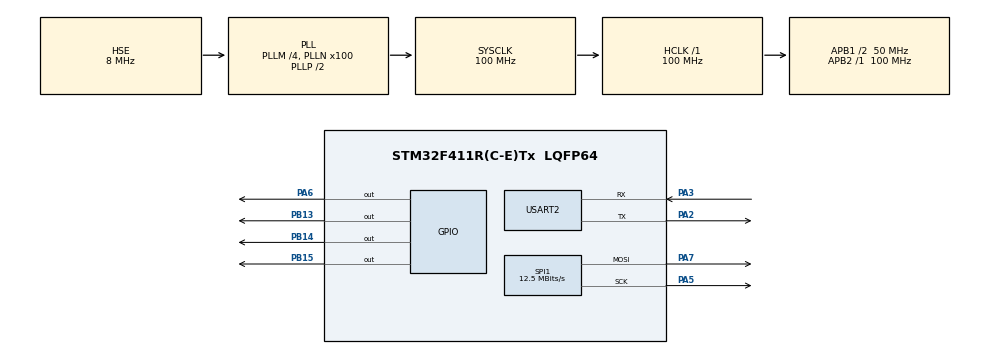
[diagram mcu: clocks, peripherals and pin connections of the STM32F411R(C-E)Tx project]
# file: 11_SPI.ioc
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Mcu.Family=STM32F4
Mcu.Name=STM32F411R(C-E)Tx
Mcu.Package=LQFP64
NVIC.PriorityGroup=NVIC_PRIORITYGROUP_4
PA13.Mode=Serial_Wire
PA13.Signal=SYS_JTMS-SWDIO
PA14.Mode=Serial_Wire
PA14.Signal=SYS_JTCK-SWCLK
PA2.Mode=Asynchronous
PA2.Signal=USART2_TX
PA3.Mode=Asynchronous
PA3.Signal=USART2_RX
PA5.Mode=TX_Only_Simplex_Unidirect_Master
PA5.Signal=SPI1_SCK
PA6.GPIO_Speed=GPIO_SPEED_FREQ_HIGH
PA6.Signal=GPIO_Output
PA7.Mode=TX_Only_Simplex_Unidirect_Master
PA7.Signal=SPI1_MOSI
PB13.Signal=GPIO_Output
PB14.Signal=GPIO_Output
PB15.Signal=GPIO_Output
PH0\ -\ OSC_IN.Mode=HSE-External-Oscillator
PH0\ -\ OSC_IN.Signal=RCC_OSC_IN
PH1\ -\ OSC_OUT.Mode=HSE-External-Oscillator
PH1\ -\ OSC_OUT.Signal=RCC_OSC_OUT
ProjectManager.HeapSize=0x200
ProjectManager.StackSize=0x400
ProjectManager.TargetToolchain=STM32CubeIDE
RCC.48MHZClocksFreq_Value=50000000
RCC.AHBFreq_Value=100000000
RCC.APB1CLKDivider=RCC_HCLK_DIV2
RCC.APB1Freq_Value=50000000
RCC.APB1TimFreq_Value=100000000
RCC.APB2Freq_Value=100000000
RCC.APB2TimFreq_Value=100000000
RCC.CortexFreq_Value=100000000
RCC.HCLKFreq_Value=100000000
RCC.HSE_VALUE=8000000
RCC.HSI_VALUE=16000000
RCC.LSE_VALUE=32768
RCC.PLLM=4
RCC.PLLN=100
RCC.PLLSourceVirtual=RCC_PLLSOURCE_HSE
RCC.SYSCLKFreq_VALUE=100000000
RCC.SYSCLKSource=RCC_SYSCLKSOURCE_PLLCLK
RCC.VCOOutputFreq_Value=200000000
SPI1.BaudRatePrescaler=SPI_BAUDRATEPRESCALER_8
SPI1.CalculateBaudRate=12.5 MBits/s
SPI1.Direction=SPI_DIRECTION_2LINES
SPI1.Mode=SPI_MODE_MASTER
SPI1.VirtualType=VM_MASTER
TIM11.Prescaler=100 - 1
USART2.VirtualMode=VM_ASYNC
VP_TIM11_VS_ClockSourceINT.Mode=Enable_Timer
board=custom

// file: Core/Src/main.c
/* USER CODE BEGIN Header */
/**
  ******************************************************************************
  * @file           : main.c
  * @brief          : Main program body
  ******************************************************************************
  * @attention
  *
  * Copyright (c) 2025 STMicroelectronics.
  * All rights reserved.
  *
  * This software is licensed under terms that can be found in the LICENSE file
  * in the root directory of this software component.
  * If no LICENSE file comes with this software, it is provided AS-IS.
  *
  ******************************************************************************
  */
/* USER CODE END Header */
#include "main.h"
#include "spi.h"
#include "tim.h"
#include "usart.h"
#include "gpio.h"

/* USER CODE BEGIN Includes */

#include "delay_us.h"

/* USER CODE END Includes */

/* USER CODE BEGIN PD */

#define RCLK_HIGH() HAL_GPIO_WritePin(GPIOA, GPIO_PIN_6, GPIO_PIN_SET)
#define RCLK_LOW()  HAL_GPIO_WritePin(GPIOA, GPIO_PIN_6, GPIO_PIN_RESET)

#define SER_PIN   GPIO_PIN_13
#define SRCLK_PIN GPIO_PIN_15
#define RCLK_PIN  GPIO_PIN_14
#define GPIO_PORT GPIOB

/* USER CODE END PD */

/* USER CODE BEGIN PV */

uint8_t LED_Bar[]=
    {
        0b00000001,
        0b00000010,
        0b00000100,
        0b00001000,
        0b00010000,
        0b00100000,
        0b01000000,
        0b10000000,
    };

/* USER CODE END PV */

void SystemClock_Config(void);
/* USER CODE BEGIN PFP */

//void LED_OUT(uint8_t data)  // use SPI
//{
//  // serial data out, SRCLK
//  HAL_SPI_Transmit(&hspi1, &data, 1, HAL_MAX_DELAY);
//
//  // 저장클럭
//  RCLK_HIGH();
//  HAL_Delay(1);
//  RCLK_LOW();
//}

void dataOut(uint8_t data)
{
  for(int8_t i = 7;i >= 0;i--)
  {
    if(data & (1 << i))
    {
      HAL_GPIO_WritePin(GPIO_PORT, SER_PIN, GPIO_PIN_SET);
    }
    else
    {
      HAL_GPIO_WritePin(GPIO_PORT, SER_PIN, GPIO_PIN_RESET);
    }
    // 시프트 클럭 생성
    HAL_GPIO_WritePin(GPIO_PORT, SRCLK_PIN, GPIO_PIN_SET);
    delay_us(5);
    HAL_GPIO_WritePin(GPIO_PORT, SRCLK_PIN, GPIO_PIN_RESET);
    delay_us(5);
  }
  HAL_GPIO_WritePin(GPIO_PORT, RCLK_PIN, GPIO_PIN_SET);
  delay_us(10);
  HAL_GPIO_WritePin(GPIO_PORT, RCLK_PIN, GPIO_PIN_RESET);
}

/* USER CODE END PFP */

int main(void)
{

  /* MCU Configuration--------------------------------------------------------*/

  /* Reset of all peripherals, Initializes the Flash interface and the Systick. */
  HAL_Init();

  /* Configure the system clock */
  SystemClock_Config();

  /* Initialize all configured peripherals */
  MX_GPIO_Init();
  MX_SPI1_Init();
  MX_USART2_UART_Init();
  MX_TIM11_Init();
  /* USER CODE BEGIN 2 */

  HAL_TIM_Base_Start(&htim11);  // for delay_us

  /* USER CODE END 2 */

  /* Infinite loop */
  /* USER CODE BEGIN WHILE */
  while (1)
  {
//    for(uint8_t i = 0;i < 8;i++)
//    {
//      LED_OUT(LED_Bar[i]);
//      HAL_Delay(300);
//    }

//    for(uint8_t i = 0;i < 8;i++)
//    {
//      dataOut(1<<i);
//      HAL_Delay(500);
//    }

    dataOut(0x0f);
    HAL_Delay(500);
    dataOut(0xf0);
    HAL_Delay(500);

    /* USER CODE END WHILE */

  }
}

void SystemClock_Config(void)
{
  RCC_OscInitTypeDef RCC_OscInitStruct = {0};
  RCC_ClkInitTypeDef RCC_ClkInitStruct = {0};

  /** Configure the main internal regulator output voltage
  */
  __HAL_RCC_PWR_CLK_ENABLE();
  __HAL_PWR_VOLTAGESCALING_CONFIG(PWR_REGULATOR_VOLTAGE_SCALE1);

  /** Initializes the RCC Oscillators according to the specified parameters
  * in the RCC_OscInitTypeDef structure.
  */
  RCC_OscInitStruct.OscillatorType = RCC_OSCILLATORTYPE_HSE;
  RCC_OscInitStruct.HSEState = RCC_HSE_ON;
  RCC_OscInitStruct.PLL.PLLState = RCC_PLL_ON;
  RCC_OscInitStruct.PLL.PLLSource = RCC_PLLSOURCE_HSE;
  RCC_OscInitStruct.PLL.PLLM = 4;
  RCC_OscInitStruct.PLL.PLLN = 100;
  RCC_OscInitStruct.PLL.PLLP = RCC_PLLP_DIV2;
  RCC_OscInitStruct.PLL.PLLQ = 4;
  if (HAL_RCC_OscConfig(&RCC_OscInitStruct) != HAL_OK)
  {
    Error_Handler();
  }

  /** Initializes the CPU, AHB and APB buses clocks
  */
  RCC_ClkInitStruct.ClockType = RCC_CLOCKTYPE_HCLK|RCC_CLOCKTYPE_SYSCLK
                              |RCC_CLOCKTYPE_PCLK1|RCC_CLOCKTYPE_PCLK2;
  RCC_ClkInitStruct.SYSCLKSource = RCC_SYSCLKSOURCE_PLLCLK;
  RCC_ClkInitStruct.AHBCLKDivider = RCC_SYSCLK_DIV1;
  RCC_ClkInitStruct.APB1CLKDivider = RCC_HCLK_DIV2;
  RCC_ClkInitStruct.APB2CLKDivider = RCC_HCLK_DIV1;

  if (HAL_RCC_ClockConfig(&RCC_ClkInitStruct, FLASH_LATENCY_3) != HAL_OK)
  {
    Error_Handler();
  }
}

void Error_Handler(void)
{
  __disable_irq();
  while (1)
  {
  }
}
